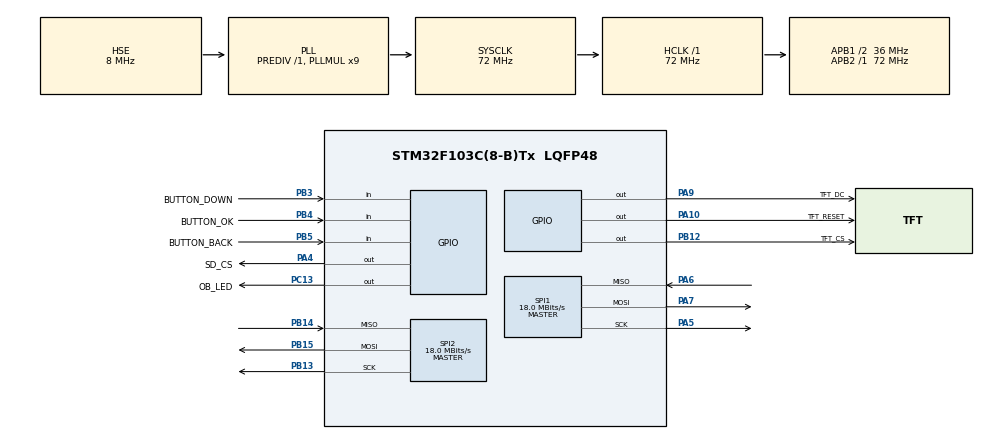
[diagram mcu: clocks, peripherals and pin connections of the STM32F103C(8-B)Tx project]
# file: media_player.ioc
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FATFS._MAX_SS=512
Mcu.Family=STM32F1
Mcu.Name=STM32F103C(8-B)Tx
Mcu.Package=LQFP48
NVIC.PriorityGroup=NVIC_PRIORITYGROUP_4
PA10.GPIO_Label=TFT_RESET
PA10.Signal=GPIO_Output
PA13.Mode=Serial_Wire
PA13.Signal=SYS_JTMS-SWDIO
PA14.Mode=Serial_Wire
PA14.Signal=SYS_JTCK-SWCLK
PA4.GPIO_Label=SD_CS
PA4.Signal=GPIO_Output
PA5.Mode=Full_Duplex_Master
PA5.Signal=SPI1_SCK
PA6.Mode=Full_Duplex_Master
PA6.Signal=SPI1_MISO
PA7.Mode=Full_Duplex_Master
PA7.Signal=SPI1_MOSI
PA9.GPIO_Label=TFT_DC
PA9.Signal=GPIO_Output
PB12.GPIO_Label=TFT_CS
PB12.Signal=GPIO_Output
PB13.Mode=Full_Duplex_Master
PB13.Signal=SPI2_SCK
PB14.Mode=Full_Duplex_Master
PB14.Signal=SPI2_MISO
PB15.Mode=Full_Duplex_Master
PB15.Signal=SPI2_MOSI
PB3.GPIO_Label=BUTTON_DOWN
PB3.Signal=GPIO_Input
PB4.GPIO_Label=BUTTON_OK
PB4.Signal=GPIO_Input
PB5.GPIO_Label=BUTTON_BACK
PB5.Signal=GPIO_Input
PC13-TAMPER-RTC.GPIO_Label=OB_LED
PC13-TAMPER-RTC.Signal=GPIO_Output
PC14-OSC32_IN.Mode=LSE-External-Oscillator
PC14-OSC32_IN.Signal=RCC_OSC32_IN
PC15-OSC32_OUT.Mode=LSE-External-Oscillator
PC15-OSC32_OUT.Signal=RCC_OSC32_OUT
PD0-OSC_IN.Mode=HSE-External-Oscillator
PD0-OSC_IN.Signal=RCC_OSC_IN
PD1-OSC_OUT.Mode=HSE-External-Oscillator
PD1-OSC_OUT.Signal=RCC_OSC_OUT
ProjectManager.HeapSize=0x200
ProjectManager.StackSize=0x400
ProjectManager.TargetToolchain=STM32CubeIDE
RCC.AHBFreq_Value=72000000
RCC.APB1CLKDivider=RCC_HCLK_DIV2
RCC.APB1Freq_Value=36000000
RCC.APB1TimFreq_Value=72000000
RCC.APB2Freq_Value=72000000
RCC.APB2TimFreq_Value=72000000
RCC.HCLKFreq_Value=72000000
RCC.PLLMUL=RCC_PLL_MUL9
RCC.PLLSourceVirtual=RCC_PLLSOURCE_HSE
RCC.SYSCLKFreq_VALUE=72000000
RCC.SYSCLKSource=RCC_SYSCLKSOURCE_PLLCLK
RCC.USBFreq_Value=72000000
SPI1.BaudRatePrescaler=SPI_BAUDRATEPRESCALER_4
SPI1.CalculateBaudRate=18.0 MBits/s
SPI1.Direction=SPI_DIRECTION_2LINES
SPI1.Mode=SPI_MODE_MASTER
SPI1.VirtualType=VM_MASTER
SPI2.BaudRatePrescaler=SPI_BAUDRATEPRESCALER_2
SPI2.CalculateBaudRate=18.0 MBits/s
SPI2.Direction=SPI_DIRECTION_2LINES
SPI2.Mode=SPI_MODE_MASTER
SPI2.VirtualType=VM_MASTER
VP_FATFS_VS_Generic.Mode=User_defined
board=custom

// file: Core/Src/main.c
/* USER CODE BEGIN Header */
/**
  ******************************************************************************
  * @file           : main.c
  * @brief          : Main program body
  ******************************************************************************
  * @attention
  *
  * <h2><center>&copy; Copyright (c) 2025 STMicroelectronics.
  * All rights reserved.</center></h2>
  *
  * This software component is licensed by ST under BSD 3-Clause license,
  * the "License"; You may not use this file except in compliance with the
  * License. You may obtain a copy of the License at:
  *                        opensource.org/licenses/BSD-3-Clause
  *
  ******************************************************************************
  */
/* USER CODE END Header */
#include "main.h"
#include "fatfs.h"

/* USER CODE BEGIN Includes */
#include "sys_fm.h"
/* USER CODE END Includes */

SPI_HandleTypeDef hspi1;
SPI_HandleTypeDef hspi2;

void SystemClock_Config(void);
static void MX_GPIO_Init(void);
static void MX_SPI2_Init(void);
static void MX_SPI1_Init(void);

/* USER CODE BEGIN 0 */
tft_t tftObject;
uint8_t dir_index;
TCHAR cwd[32];
FRESULT fresult = FR_OK;
FATFS fs;
FileEntry fileTable;
/* USER CODE END 0 */

int main(void)
{

  /* MCU Configuration--------------------------------------------------------*/

  /* Reset of all peripherals, Initializes the Flash interface and the Systick. */
  HAL_Init();

  /* Configure the system clock */
  SystemClock_Config();

  /* Initialize all configured peripherals */
  MX_GPIO_Init();
  MX_SPI2_Init();
  MX_SPI1_Init();
  MX_FATFS_Init();
  /* USER CODE BEGIN 2 */
  tft_init(&tftObject, &hspi2,
		  TFT_RESET_GPIO_Port, TFT_RESET_Pin,
		  TFT_DC_GPIO_Port, TFT_DC_Pin,
		  TFT_CS_GPIO_Port, TFT_CS_Pin);

  tft_fill_rect(&tftObject, 0, 0, ST_WIDTH, ST_HEIGHT, BLACK);

  fresult = f_mount(&fs, "", 0);
  sys_flog(&tftObject, "sd mount", fresult);
  sys_writeFileEntries("", &fileTable);

  while (fresult == 0)
  {
	  dir_index = sys_flist(fileTable, &tftObject, 0, 0);
	  fresult = f_chdir(fileTable.flinfo[dir_index].fname);
	  fresult |= f_getcwd(cwd, 32);
	  memset(&fileTable, 0, sizeof(fileTable));
	  sys_writeFileEntries(cwd, &fileTable);
  }
  /* USER CODE END 2 */

  /* Infinite loop */
  while (1)
  {

  }
}

void SystemClock_Config(void)
{
  RCC_OscInitTypeDef RCC_OscInitStruct = {0};
  RCC_ClkInitTypeDef RCC_ClkInitStruct = {0};

  /** Initializes the RCC Oscillators according to the specified parameters
  * in the RCC_OscInitTypeDef structure.
  */
  RCC_OscInitStruct.OscillatorType = RCC_OSCILLATORTYPE_HSE;
  RCC_OscInitStruct.HSEState = RCC_HSE_ON;
  RCC_OscInitStruct.HSEPredivValue = RCC_HSE_PREDIV_DIV1;
  RCC_OscInitStruct.HSIState = RCC_HSI_ON;
  RCC_OscInitStruct.PLL.PLLState = RCC_PLL_ON;
  RCC_OscInitStruct.PLL.PLLSource = RCC_PLLSOURCE_HSE;
  RCC_OscInitStruct.PLL.PLLMUL = RCC_PLL_MUL9;
  if (HAL_RCC_OscConfig(&RCC_OscInitStruct) != HAL_OK)
  {
    Error_Handler();
  }
  /** Initializes the CPU, AHB and APB buses clocks
  */
  RCC_ClkInitStruct.ClockType = RCC_CLOCKTYPE_HCLK|RCC_CLOCKTYPE_SYSCLK
                              |RCC_CLOCKTYPE_PCLK1|RCC_CLOCKTYPE_PCLK2;
  RCC_ClkInitStruct.SYSCLKSource = RCC_SYSCLKSOURCE_PLLCLK;
  RCC_ClkInitStruct.AHBCLKDivider = RCC_SYSCLK_DIV1;
  RCC_ClkInitStruct.APB1CLKDivider = RCC_HCLK_DIV2;
  RCC_ClkInitStruct.APB2CLKDivider = RCC_HCLK_DIV1;

  if (HAL_RCC_ClockConfig(&RCC_ClkInitStruct, FLASH_LATENCY_2) != HAL_OK)
  {
    Error_Handler();
  }
}

static void MX_SPI1_Init(void)
{

  /* SPI1 parameter configuration*/
  hspi1.Instance = SPI1;
  hspi1.Init.Mode = SPI_MODE_MASTER;
  hspi1.Init.Direction = SPI_DIRECTION_2LINES;
  hspi1.Init.DataSize = SPI_DATASIZE_8BIT;
  hspi1.Init.CLKPolarity = SPI_POLARITY_LOW;
  hspi1.Init.CLKPhase = SPI_PHASE_1EDGE;
  hspi1.Init.NSS = SPI_NSS_SOFT;
  hspi1.Init.BaudRatePrescaler = SPI_BAUDRATEPRESCALER_4;
  hspi1.Init.FirstBit = SPI_FIRSTBIT_MSB;
  hspi1.Init.TIMode = SPI_TIMODE_DISABLE;
  hspi1.Init.CRCCalculation = SPI_CRCCALCULATION_DISABLE;
  hspi1.Init.CRCPolynomial = 10;
  if (HAL_SPI_Init(&hspi1) != HAL_OK)
  {
    Error_Handler();
  }

}

static void MX_SPI2_Init(void)
{

  /* SPI2 parameter configuration*/
  hspi2.Instance = SPI2;
  hspi2.Init.Mode = SPI_MODE_MASTER;
  hspi2.Init.Direction = SPI_DIRECTION_2LINES;
  hspi2.Init.DataSize = SPI_DATASIZE_8BIT;
  hspi2.Init.CLKPolarity = SPI_POLARITY_LOW;
  hspi2.Init.CLKPhase = SPI_PHASE_1EDGE;
  hspi2.Init.NSS = SPI_NSS_SOFT;
  hspi2.Init.BaudRatePrescaler = SPI_BAUDRATEPRESCALER_2;
  hspi2.Init.FirstBit = SPI_FIRSTBIT_MSB;
  hspi2.Init.TIMode = SPI_TIMODE_DISABLE;
  hspi2.Init.CRCCalculation = SPI_CRCCALCULATION_DISABLE;
  hspi2.Init.CRCPolynomial = 10;
  if (HAL_SPI_Init(&hspi2) != HAL_OK)
  {
    Error_Handler();
  }

}

static void MX_GPIO_Init(void)
{
  GPIO_InitTypeDef GPIO_InitStruct = {0};

  /* GPIO Ports Clock Enable */
  __HAL_RCC_GPIOC_CLK_ENABLE();
  __HAL_RCC_GPIOD_CLK_ENABLE();
  __HAL_RCC_GPIOA_CLK_ENABLE();
  __HAL_RCC_GPIOB_CLK_ENABLE();

  /*Configure GPIO pin Output Level */
  HAL_GPIO_WritePin(OB_LED_GPIO_Port, OB_LED_Pin, GPIO_PIN_RESET);

  /*Configure GPIO pin Output Level */
  HAL_GPIO_WritePin(GPIOA, SD_CS_Pin|TFT_DC_Pin|TFT_RESET_Pin, GPIO_PIN_RESET);

  /*Configure GPIO pin Output Level */
  HAL_GPIO_WritePin(TFT_CS_GPIO_Port, TFT_CS_Pin, GPIO_PIN_RESET);

  /*Configure GPIO pin : OB_LED_Pin */
  GPIO_InitStruct.Pin = OB_LED_Pin;
  GPIO_InitStruct.Mode = GPIO_MODE_OUTPUT_PP;
  GPIO_InitStruct.Pull = GPIO_NOPULL;
  GPIO_InitStruct.Speed = GPIO_SPEED_FREQ_LOW;
  HAL_GPIO_Init(OB_LED_GPIO_Port, &GPIO_InitStruct);

  /*Configure GPIO pins : SD_CS_Pin TFT_DC_Pin TFT_RESET_Pin */
  GPIO_InitStruct.Pin = SD_CS_Pin|TFT_DC_Pin|TFT_RESET_Pin;
  GPIO_InitStruct.Mode = GPIO_MODE_OUTPUT_PP;
  GPIO_InitStruct.Pull = GPIO_NOPULL;
  GPIO_InitStruct.Speed = GPIO_SPEED_FREQ_LOW;
  HAL_GPIO_Init(GPIOA, &GPIO_InitStruct);

  /*Configure GPIO pin : TFT_CS_Pin */
  GPIO_InitStruct.Pin = TFT_CS_Pin;
  GPIO_InitStruct.Mode = GPIO_MODE_OUTPUT_PP;
  GPIO_InitStruct.Pull = GPIO_NOPULL;
  GPIO_InitStruct.Speed = GPIO_SPEED_FREQ_LOW;
  HAL_GPIO_Init(TFT_CS_GPIO_Port, &GPIO_InitStruct);

  /*Configure GPIO pins : BUTTON_DOWN_Pin BUTTON_OK_Pin BUTTON_BACK_Pin */
  GPIO_InitStruct.Pin = BUTTON_DOWN_Pin|BUTTON_OK_Pin|BUTTON_BACK_Pin;
  GPIO_InitStruct.Mode = GPIO_MODE_INPUT;
  GPIO_InitStruct.Pull = GPIO_NOPULL;
  HAL_GPIO_Init(GPIOB, &GPIO_InitStruct);

}

void Error_Handler(void)
{
  __disable_irq();
  while (1)
  {
  }
}

/************************ (C) COPYRIGHT STMicroelectronics *****END OF FILE****/
